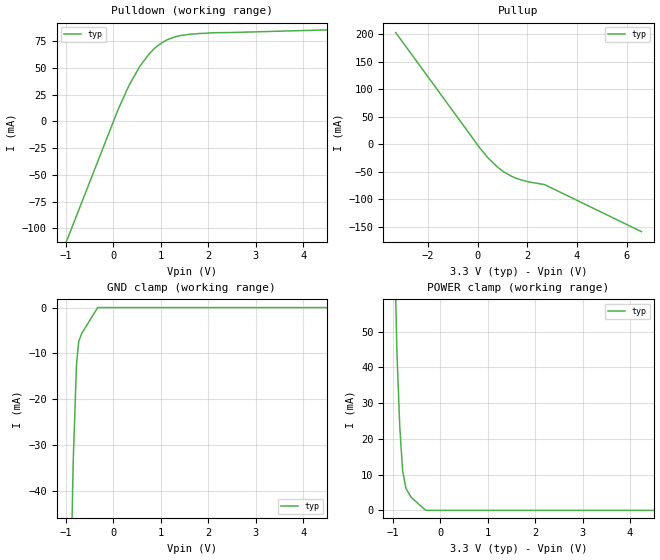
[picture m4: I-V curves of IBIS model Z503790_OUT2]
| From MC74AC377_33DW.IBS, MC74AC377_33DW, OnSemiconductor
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| (C) COPYRIGHT 1993-2000
| MENTOR GRAPHICS CORPORATION
| ICX STANDARD LIBRARY, ICX PROJECT MODELING,
| ICX CUSTOM MODELING, ICX VENDOR MODEL
| ALL RIGHTS RESERVED.
| THE FOLLOWING ARE TRADEMARKS OR SERVICE MARKS OF
| MENTOR GRAPHICS CORPORATION:ICX (R), ICX STANDARD
| LIBRARY(R), ICX PROJECT MODELING(R), ICX CUSTOM
| MODELING(R), qualityIBIS(TM), MODELVIEWER(TM),
| AND MODELEDITOR(TM)
| ALL COPIES OF SOFTWARE, INCLUDING BUT NOT LIMITED TO
| ANY MODIFICATIONS, ENHANCEMENTS OR DERIVATIVE WORKS,
| MUST CONTAIN ALL MENTOR GRAPHICS CORPORATION'S
| NOTICES AND LEGENDS, INCLUDING THOSE EMBEDDED IN
| SOFTWARE AND THOSE AFFIXED TO SOFTWARE MEDIUM
| AND CONTAINER, AS RECEIVED FROM MENTOR GRAPHICS
| CORPORATION.
| Model Application Version 1.89 2/18/99.
[Model] Z503790_OUT2
Model_type Output
Vref=0.000V
Rref=500.0ohms
Cref=50.00pF
Vmeas=1.650V
C_comp 8.000pF NA NA
| variable typ   min   max
[Voltage Range] 3.300V NA NA
[POWER Clamp Reference] 3.300V NA NA
[Pullup Reference] 3.300V NA NA
[Pulldown Reference] 0.000V NA NA
[GND Clamp Reference] 0.000V NA NA
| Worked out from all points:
|   slope of the pulldown table from 0 to 0.495 V, typ, clamps not added: 10.6 ohm
|   slope of the pullup table from 0 to 0.495 V, typ, clamps not added: 18.5 ohm
[GND Clamp]
-3.3V     -1.099A    NA         NA
-1.045V   -139.8mA   NA         NA
-849.6mV  -33.98mA   NA         NA
-778.5mV  -12.34mA   NA         NA
-732.1mV  -7.363mA   NA         NA
-663.9mV  -5.548mA   NA         NA
-332mV    0A         NA         NA
6.6V      0A         NA         NA
[Pulldown]
-3.3V     -373.8mA   NA         NA
95.21mV   10.81mA    NA         NA
332.1mV   34.04mA    NA         NA
552.5mV   51.29mA    NA         NA
757mV     63.34mA    NA         NA
869.1mV   68.46mA    NA         NA
1.143V    76.56mA    NA         NA
1.436V    80.44mA    NA         NA
2.09V     82.9mA     NA         NA
6.6V      88.09mA    NA         NA
[Pullup]
-3.3V     203mA      NA         NA
93mV      -7.31mA    NA         NA
409mV     -24.52mA   NA         NA
908mV     -45.68mA   NA         NA
1.083V    -51.33mA   NA         NA
1.548V    -62.08mA   NA         NA
1.943V    -67.44mA   NA         NA
2.695V    -73.66mA   NA         NA
6.6V      -159.3mA   NA         NA
[POWER Clamp]
-3.3V     1.385A     NA         NA
-913mV    43.66mA    NA         NA
-855mV    23.39mA    NA         NA
-795mV    11.12mA    NA         NA
-723mV    6.074mA    NA         NA
-616mV    3.677mA    NA         NA
-308mV    0A         NA         NA
6.6V      0A         NA         NA
[Ramp]
| variable typ min max
dV/dt_r 1.933/404.3p NA NA
dV/dt_f 1.933/333.0p NA NA
R_load = 500.0Ohms
